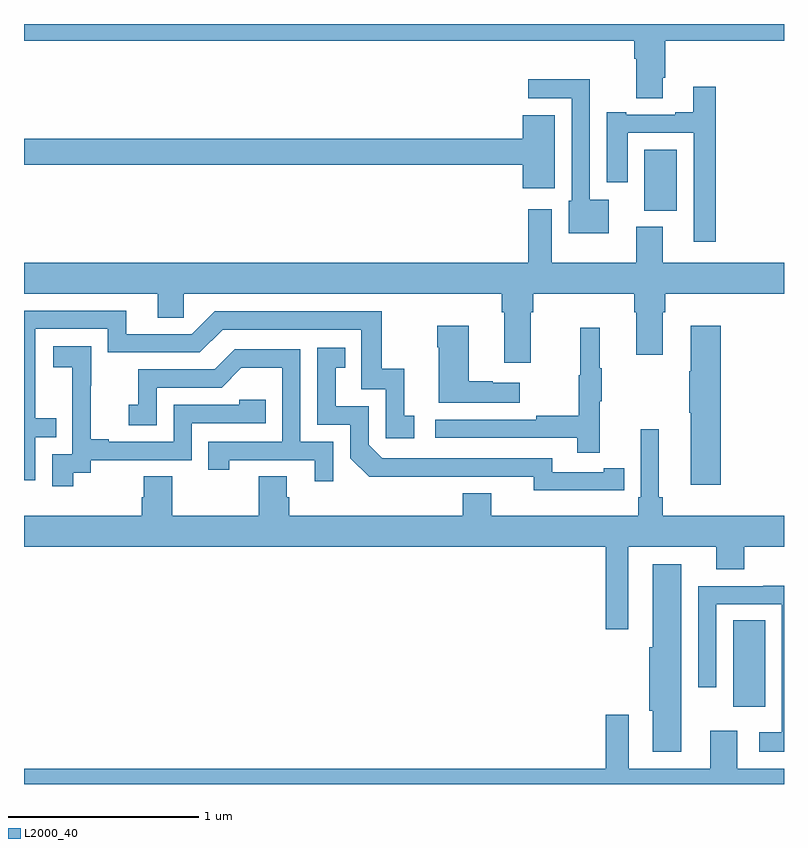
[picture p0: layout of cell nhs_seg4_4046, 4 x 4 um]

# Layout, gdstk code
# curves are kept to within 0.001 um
import gdstk
lib = gdstk.Library(unit=1e-6, precision=1e-09)
def R(c, l, rs):  # rectangles x0, y0, x1, y1
    for r in rs: c.add(gdstk.rectangle(r[:2], r[2:], *l))
def P(c, l, *ps):  # polygons
    for p in ps: c.add(gdstk.Polygon(p, *l))
L2000_40 = (2000, 40)

nhs_seg4_4046 = lib.new_cell('nhs_seg4_4046')
R(nhs_seg4_4046, L2000_40, [(328.733,801.306,328.9,801.761), (328.265,803.918,328.435,804.238)])
P(nhs_seg4_4046, L2000_40, [(328.363,804.616),(328.376,804.616),(328.376,804.812),(329,804.812),(329,804.9),(325,804.9),(325,804.812),(328.211,804.812),(328.211,804.716),(328.223,804.716),(328.223,804.508),(328.363,804.508)],
  [(328.078,803.974),(327.978,803.974),(327.978,804.608),(327.654,804.608),(327.654,804.51),(327.882,804.51),(327.882,803.97),(327.866,803.97),(327.866,803.798),(328.078,803.798)],
  [(328.64,804.571),(328.523,804.571),(328.523,804.436),(328.427,804.436),(328.427,804.423),(328.171,804.423),(328.171,804.436),(328.067,804.436),(328.067,804.066),(328.177,804.066),(328.177,804.327),(328.524,804.327),(328.524,803.754),(328.64,803.754)],
  [(327.793,804.421),(327.626,804.421),(327.626,804.296),(325,804.296),(325,804.16),(327.626,804.16),(327.626,804.035),(327.793,804.035)],
  [(327.667,803.384),(327.68,803.384),(327.68,803.48),(328.211,803.48),(328.211,803.384),(328.223,803.384),(328.223,803.16),(328.363,803.16),(328.363,803.384),(328.376,803.384),(328.376,803.48),(329,803.48),(329,803.644),(328.363,803.644),(328.363,803.833),(328.223,803.833),(328.223,803.644),(327.778,803.644),(327.778,803.926),(327.653,803.926),(327.653,803.644),(325,803.644),(325,803.48),(325.703,803.48),(325.703,803.353),(325.842,803.353),(325.842,803.48),(327.515,803.48),(327.515,803.384),(327.527,803.384),(327.527,803.118),(327.667,803.118)],
  [(325.059,802.725),(325.169,802.725),(325.169,802.826),(325.059,802.826),(325.059,803.295),(325.44,803.295),(325.44,803.172),(325.926,803.172),(326.046,803.292),(326.775,803.292),(326.775,802.977),(326.904,802.977),(326.904,802.719),(327.055,802.719),(327.055,802.839),(327.002,802.839),(327.002,803.086),(326.884,803.086),(326.884,803.388),(326.004,803.388),(325.884,803.268),(325.537,803.268),(325.537,803.391),(325,803.391),(325,802.5),(325.059,802.5)],
  [(327.61,803.011),(327.467,803.011),(327.467,803.021),(327.34,803.021),(327.34,803.311),(327.175,803.311),(327.175,803.198),(327.182,803.198),(327.182,802.907),(327.61,802.907)],
  [(328.667,803.311),(328.508,803.311),(328.508,803.072),(328.501,803.072),(328.501,802.855),(328.508,802.855),(328.508,802.476),(328.667,802.476)],
  [(328.031,802.915),(328.042,802.915),(328.042,803.089),(328.031,803.089),(328.031,803.302),(327.928,803.302),(327.928,803.052),(327.921,803.052),(327.921,802.838),(327.697,802.838),(327.697,802.818),(327.165,802.818),(327.165,802.722),(327.913,802.722),(327.913,802.644),(328.031,802.644)],
  [(325.258,802.537),(325.35,802.537),(325.35,802.605),(325.884,802.605),(325.884,802.8),(326.273,802.8),(326.273,802.923),(326.133,802.923),(326.133,802.896),(325.788,802.896),(325.788,802.701),(325.447,802.701),(325.447,802.714),(325.352,802.714),(325.352,802.997),(325.353,802.997),(325.353,803.203),(325.155,803.203),(325.155,803.093),(325.253,803.093),(325.253,802.865),(325.254,802.865),(325.254,802.635),(325.149,802.635),(325.149,802.467),(325.258,802.467)],
  [(328.052,802.446),(328.16,802.446),(328.16,802.562),(328.052,802.562),(328.052,802.542),(327.78,802.542),(327.78,802.614),(326.886,802.614),(326.814,802.686),(326.814,802.887),(326.641,802.887),(326.641,803.091),(326.69,803.091),(326.69,803.197),(326.544,803.197),(326.544,802.791),(326.718,802.791),(326.718,802.614),(326.816,802.517),(327.684,802.518),(327.684,802.445)],
  [(326.628,802.701),(326.454,802.701),(326.454,803.187),(326.108,803.187),(326.003,803.082),(325.6,803.082),(325.6,802.897),(325.551,802.897),(325.551,802.788),(325.698,802.788),(325.698,802.986),(326.04,802.986),(326.144,803.09),(326.358,803.09),(326.358,802.701),(325.969,802.701),(325.969,802.554),(326.08,802.554),(326.08,802.605),(326.531,802.605),(326.531,802.494),(326.628,802.494)],
  [(328.18,802.148),(328.643,802.148),(328.643,802.031),(328.791,802.031),(328.791,802.148),(329,802.148),(329,802.312),(328.361,802.312),(328.361,802.408),(328.342,802.408),(328.342,802.768),(328.245,802.768),(328.245,802.408),(328.232,802.408),(328.232,802.312),(327.46,802.312),(327.46,802.429),(327.308,802.429),(327.308,802.312),(326.396,802.312),(326.396,802.41),(326.383,802.41),(326.383,802.52),(326.236,802.52),(326.236,802.312),(325.779,802.312),(325.779,802.52),(325.631,802.52),(325.631,802.41),(325.619,802.41),(325.619,802.312),(325,802.312),(325,802.148),(328.063,802.148),(328.063,801.714),(328.18,801.714)],
  [(328.459,802.057),(328.31,802.057),(328.31,801.621),(328.292,801.621),(328.292,801.285),(328.31,801.285),(328.31,801.069),(328.459,801.069)],
  [(329,801.944),(328.892,801.944),(328.892,801.942),(328.548,801.942),(328.548,801.408),(328.644,801.408),(328.644,801.846),(328.989,801.846),(328.989,801.172),(328.869,801.172),(328.869,801.071),(329,801.071)],
  [(329,800.98),(328.753,800.98),(328.753,801.181),(328.613,801.181),(328.613,800.98),(328.183,800.98),(328.183,801.265),(328.062,801.265),(328.062,800.98),(325,800.98),(325,800.9),(329,800.9)])

lib.write_gds('nhs_seg4_4046.gds')
